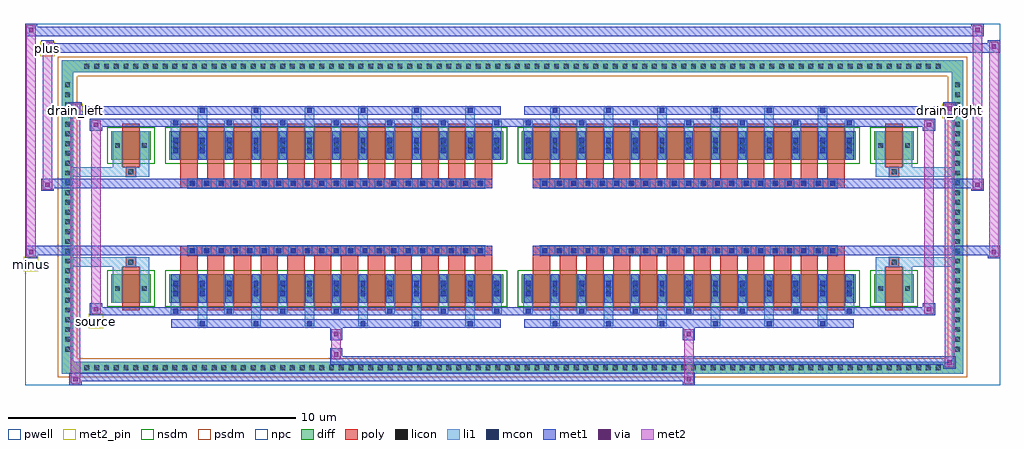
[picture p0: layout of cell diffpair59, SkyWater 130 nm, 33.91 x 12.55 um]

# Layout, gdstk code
import gdstk
lib = gdstk.Library(unit=1e-6, precision=5e-09)
def R(c, l, rs):  # rectangles x0, y0, x1, y1
    for r in rs: c.add(gdstk.rectangle(r[:2], r[2:], *l))
def A(c, l, x, y, w, h, nx, ny, dx, dy):  # array of equal rectangles
    R(c, l, [(x+i*dx, y+j*dy, x+i*dx+w, y+j*dy+h) for i in range(nx) for j in range(ny)])
def P(c, l, *ps):  # polygons
    for p in ps: c.add(gdstk.Polygon(p, *l))
pwell = (64, 44)
diff = (65, 20)
poly = (66, 20)
licon = (66, 44)
li1 = (67, 20)
mcon = (67, 44)
met1 = (68, 20)
via = (68, 44)
met2_pin = (69, 16)
met2 = (69, 20)
nsdm = (93, 44)
psdm = (94, 20)
npc = (95, 20)

diffpair59 = lib.new_cell('diffpair59')
R(diffpair59, pwell, [(-16.94,-5.84,16.94,6.71), (-14.26,-4.03,-0.01,-0.805), (0.01,-4.03,14.26,-0.805), (-14.26,0.805,-0.01,4.03), (0.01,0.805,14.26,4.03)])
A(diffpair59, diff, -14.995, -5.44, 0.41, 0.41, 88, 2, 0.34, 10.47)
A(diffpair59, diff, -15.67, -4.795, 0.41, 0.41, 1, 28, 0, 0.34)
A(diffpair59, diff, 15.26, -4.795, 0.41, 0.41, 1, 28, 0, 0.34)
R(diffpair59, diff, [(-14.995,-5.44,14.995,-5.03), (-15.67,-4.795,-15.26,4.795), (15.26,-4.795,15.67,4.795), (-13.95,-2.985,-12.57,-1.985), (-11.93,-2.985,-0.32,-1.985), (0.32,-2.985,11.93,-1.985), (12.57,-2.985,13.95,-1.985), (-13.95,1.985,-12.57,2.985), (-11.93,1.985,-0.32,2.985), (0.32,1.985,11.93,2.985), (12.57,1.985,13.95,2.985), (-14.995,5.03,14.995,5.44)])
P(diffpair59, diff, [(15.67,5.44),(-15.67,5.44),(-15.67,-5.03),(-15.26,-5.03),(-15.26,5.03),(15.26,5.03),(15.26,-5.03),(-15.26,-5.03),(-15.67,-5.03),(-15.67,-5.44),(15.67,-5.44)])
A(diffpair59, poly, -11.54, -3.235, 0.6, 1.5, 12, 2, 0.93, 4.97)
A(diffpair59, poly, 0.71, -3.235, 0.6, 1.5, 12, 2, 0.93, 4.97)
A(diffpair59, poly, -11.54, -1.735, 0.6, 0.4, 12, 2, 0.93, 3.07)
A(diffpair59, poly, 0.71, -1.735, 0.6, 0.4, 12, 2, 0.93, 3.07)
A(diffpair59, poly, -11.29, -1.335, 0.33, 0.33, 21, 2, 0.5, 2.34)
A(diffpair59, poly, 0.96, -1.335, 0.33, 0.33, 21, 2, 0.5, 2.34)
R(diffpair59, poly, [(-13.56,-3.235,-12.96,-1.735), (12.96,-3.235,13.56,-1.735), (-13.425,-1.735,-13.095,-1.405), (-13.425,-1.735,-13.095,-1.405), (13.095,-1.735,13.425,-1.405), (13.095,-1.735,13.425,-1.405), (-11.54,-1.335,-0.71,-1.005), (0.71,-1.335,11.54,-1.005), (-11.54,1.005,-0.71,1.335), (0.71,1.005,11.54,1.335), (-13.425,1.405,-13.095,1.735), (-13.425,1.405,-13.095,1.735), (13.095,1.405,13.425,1.735), (13.095,1.405,13.425,1.735), (-13.56,1.735,-12.96,3.235), (12.96,1.735,13.56,3.235)])
A(diffpair59, licon, -14.875, -5.32, 0.17, 0.17, 88, 2, 0.34, 10.47)
A(diffpair59, licon, -15.55, -4.675, 0.17, 0.17, 1, 28, 0, 0.34)
A(diffpair59, licon, 15.38, -4.675, 0.17, 0.17, 1, 28, 0, 0.34)
A(diffpair59, licon, -11.79, -2.57, 0.17, 0.17, 13, 2, 0.93, 4.97)
A(diffpair59, licon, 0.46, -2.57, 0.17, 0.17, 13, 2, 0.93, 4.97)
A(diffpair59, licon, -11.21, -1.255, 0.17, 0.17, 21, 2, 0.5, 2.34)
A(diffpair59, licon, 1.04, -1.255, 0.17, 0.17, 21, 2, 0.5, 2.34)
R(diffpair59, licon, [(-13.81,-2.57,-13.64,-2.4), (-12.88,-2.57,-12.71,-2.4), (12.71,-2.57,12.88,-2.4), (13.64,-2.57,13.81,-2.4), (-13.345,-1.655,-13.175,-1.485), (13.175,-1.655,13.345,-1.485), (-13.345,1.485,-13.175,1.655), (13.175,1.485,13.345,1.655), (-13.81,2.4,-13.64,2.57), (-12.88,2.4,-12.71,2.57), (12.71,2.4,12.88,2.57), (13.64,2.4,13.81,2.57)])
A(diffpair59, li1, -14.955, -5.4, 0.33, 0.33, 88, 2, 0.34, 10.47)
A(diffpair59, li1, -15.63, -4.755, 0.33, 0.33, 1, 28, 0, 0.34)
A(diffpair59, li1, 15.3, -4.755, 0.33, 0.33, 1, 28, 0, 0.34)
A(diffpair59, li1, -10.94, -3.79, 0.33, 0.805, 6, 2, 1.86, 6.775)
A(diffpair59, li1, -10.86, -3.79, 0.17, 0.17, 6, 2, 1.86, 7.41)
A(diffpair59, li1, 1.31, -3.79, 0.33, 0.805, 6, 2, 1.86, 6.775)
A(diffpair59, li1, 1.39, -3.79, 0.17, 0.17, 6, 2, 1.86, 7.41)
A(diffpair59, li1, -11.87, -3.36, 0.33, 0.375, 7, 2, 1.86, 6.345)
A(diffpair59, li1, -11.79, -3.36, 0.17, 0.17, 7, 2, 1.86, 6.55)
A(diffpair59, li1, 0.38, -3.36, 0.33, 0.375, 7, 2, 1.86, 6.345)
A(diffpair59, li1, 0.46, -3.36, 0.17, 0.17, 7, 2, 1.86, 6.55)
A(diffpair59, li1, -11.87, -2.985, 0.33, 1, 13, 2, 0.93, 4.97)
A(diffpair59, li1, 0.38, -2.985, 0.33, 1, 13, 2, 0.93, 4.97)
A(diffpair59, li1, -11.79, -2.75, 0.17, 0.17, 13, 2, 0.93, 0.36)
A(diffpair59, li1, -11.79, -2.75, 0.17, 0.53, 13, 2, 0.93, 4.97)
A(diffpair59, li1, 0.46, -2.75, 0.17, 0.17, 13, 2, 0.93, 0.36)
A(diffpair59, li1, 0.46, -2.75, 0.17, 0.53, 13, 2, 0.93, 4.97)
A(diffpair59, li1, -11.87, -2.65, 0.33, 0.33, 13, 2, 0.93, 4.97)
A(diffpair59, li1, 0.38, -2.65, 0.33, 0.33, 13, 2, 0.93, 4.97)
A(diffpair59, li1, -11.29, -1.335, 0.33, 0.33, 21, 2, 0.5, 2.34)
A(diffpair59, li1, 0.96, -1.335, 0.33, 0.33, 21, 2, 0.5, 2.34)
A(diffpair59, li1, -11.79, 2.22, 0.17, 0.17, 13, 2, 0.93, 0.36)
A(diffpair59, li1, 0.46, 2.22, 0.17, 0.17, 13, 2, 0.93, 0.36)
R(diffpair59, li1, [(-15.67,-5.44,-15.26,-5.03), (-15.67,-5.44,-15.26,-5.03), (-15.26,-5.44,15.26,-5.03), (15.26,-5.44,15.67,-5.03), (15.26,-5.44,15.67,-5.03), (-15.67,-5.03,-15.26,5.03), (15.26,-5.03,15.67,5.03), (-13.89,-2.985,-13.56,-1.985), (-12.96,-2.985,-12.63,-1.985), (12.63,-2.985,12.96,-1.985), (13.56,-2.985,13.89,-1.985), (-13.89,-2.65,-13.56,-2.32), (-12.96,-2.65,-12.63,-2.32), (12.63,-2.65,12.96,-2.32), (13.56,-2.65,13.89,-2.32), (-13.89,-1.985,-13.56,-1.405), (-12.96,-1.985,-12.63,-1.405), (12.63,-1.985,12.96,-1.405), (13.56,-1.985,13.89,-1.405), (-15.67,-1.735,-13.425,-1.405), (-13.89,-1.735,-13.425,-1.405), (-13.425,-1.735,-13.095,-1.405), (-13.095,-1.735,-12.63,-1.405), (12.63,-1.735,13.095,-1.405), (13.095,-1.735,13.425,-1.405), (13.095,-1.735,15.67,-1.405), (13.425,-1.735,13.89,-1.405), (-15.67,1.405,-13.425,1.735), (-13.89,1.405,-13.425,1.735), (-13.89,1.405,-13.56,1.985), (-13.425,1.405,-13.095,1.735), (-13.095,1.405,-12.63,1.735), (-12.96,1.405,-12.63,1.985), (12.63,1.405,13.095,1.735), (12.63,1.405,12.96,1.985), (13.095,1.405,13.425,1.735), (13.095,1.405,15.67,1.735), (13.425,1.405,13.89,1.735), (13.56,1.405,13.89,1.985), (-13.89,1.985,-13.56,2.985), (-12.96,1.985,-12.63,2.985), (12.63,1.985,12.96,2.985), (13.56,1.985,13.89,2.985), (-13.89,2.32,-13.56,2.65), (-12.96,2.32,-12.63,2.65), (12.63,2.32,12.96,2.65), (13.56,2.32,13.89,2.65), (-15.67,5.03,-15.26,5.44), (-15.67,5.03,-15.26,5.44), (-15.26,5.03,15.26,5.44), (15.26,5.03,15.67,5.44), (15.26,5.03,15.67,5.44)])
A(diffpair59, mcon, -10.86, -3.79, 0.17, 0.17, 6, 2, 1.86, 7.41)
A(diffpair59, mcon, 1.39, -3.79, 0.17, 0.17, 6, 2, 1.86, 7.41)
A(diffpair59, mcon, -11.79, -3.36, 0.17, 0.17, 7, 2, 1.86, 6.55)
A(diffpair59, mcon, 0.46, -3.36, 0.17, 0.17, 7, 2, 1.86, 6.55)
A(diffpair59, mcon, -11.79, -2.75, 0.17, 0.17, 13, 2, 0.93, 0.36)
A(diffpair59, mcon, 0.46, -2.75, 0.17, 0.17, 13, 2, 0.93, 0.36)
A(diffpair59, mcon, -11.21, -1.255, 0.17, 0.17, 21, 2, 0.5, 2.34)
A(diffpair59, mcon, 1.04, -1.255, 0.17, 0.17, 21, 2, 0.5, 2.34)
A(diffpair59, mcon, -11.79, 2.22, 0.17, 0.17, 13, 2, 0.93, 0.36)
A(diffpair59, mcon, 0.46, 2.22, 0.17, 0.17, 13, 2, 0.93, 0.36)
A(diffpair59, met1, -10.92, -3.85, 0.29, 0.29, 6, 2, 1.86, 7.41)
A(diffpair59, met1, 1.33, -3.85, 0.29, 0.29, 6, 2, 1.86, 7.41)
A(diffpair59, met1, -11.85, -3.42, 0.29, 0.29, 7, 2, 1.86, 6.55)
A(diffpair59, met1, 0.4, -3.42, 0.29, 0.29, 7, 2, 1.86, 6.55)
A(diffpair59, met1, -11.85, -2.985, 0.29, 1, 13, 2, 0.93, 4.97)
A(diffpair59, met1, 0.4, -2.985, 0.29, 1, 13, 2, 0.93, 4.97)
A(diffpair59, met1, -11.85, -2.81, 0.29, 0.29, 13, 2, 0.93, 0.36)
A(diffpair59, met1, 0.4, -2.81, 0.29, 0.29, 13, 2, 0.93, 0.36)
A(diffpair59, met1, -11.27, -1.315, 0.29, 0.29, 21, 2, 0.5, 2.34)
A(diffpair59, met1, 0.98, -1.315, 0.29, 0.29, 21, 2, 0.5, 2.34)
A(diffpair59, met1, -11.85, 2.16, 0.29, 0.29, 13, 2, 0.93, 0.36)
A(diffpair59, met1, 0.4, 2.16, 0.29, 0.29, 13, 2, 0.93, 0.36)
R(diffpair59, met1, [(-15.4,-5.84,-14.97,-5.41), (5.91,-5.84,6.34,-5.41), (-15.4,-5.7,6.34,-5.41), (14.97,-5.27,15.4,-4.84), (-6.34,-5.13,15.4,-4.84), (-6.34,-4.99,-5.91,-4.56), (-6.34,-4.28,-5.91,-3.85), (5.91,-4.28,6.34,-3.85), (-11.85,-3.85,-0.4,-3.56), (0.4,-3.85,11.85,-3.56), (-14.69,-3.42,-14.26,-2.99), (-14.69,-3.42,-11.85,-3.13), (-11.85,-3.42,-0.4,-3.13), (-0.4,-3.42,0.4,-3.13), (0.4,-3.42,11.85,-3.13), (11.85,-3.42,14.69,-3.13), (14.26,-3.42,14.69,-2.99), (-16.94,-1.435,-16.51,-1.005), (16.51,-1.435,16.94,-1.005), (-16.94,-1.335,-0.71,-1.005), (-11.54,-1.335,-0.71,-1.005), (0.71,-1.335,11.54,-1.005), (0.71,-1.335,16.94,-1.005), (-16.37,0.905,-15.94,1.335), (15.94,0.905,16.37,1.335), (-16.37,1.005,-11.54,1.335), (-11.54,1.005,-0.71,1.335), (0.71,1.005,11.54,1.335), (11.54,1.005,16.37,1.335), (-14.69,2.99,-14.26,3.42), (14.26,2.99,14.69,3.42), (-14.69,3.13,-11.85,3.42), (-11.85,3.13,-0.4,3.42), (-0.4,3.13,0.4,3.42), (0.4,3.13,11.85,3.42), (11.85,3.13,14.69,3.42), (-15.4,3.56,-14.97,3.99), (-15.4,3.56,-11.85,3.85), (-11.85,3.56,-0.4,3.85), (0.4,3.56,11.85,3.85), (11.85,3.56,15.4,3.85), (14.97,3.56,15.4,3.99), (-16.37,5.71,-15.94,6.14), (-16.37,5.71,-14.26,6.04), (-14.26,5.71,14.26,6.04), (14.26,5.71,16.94,6.04), (16.51,5.71,16.94,6.14), (-16.94,6.28,-16.51,6.71), (-16.94,6.28,-14.26,6.61), (-14.26,6.28,14.26,6.61), (14.26,6.28,16.37,6.61), (15.94,6.28,16.37,6.71)])
R(diffpair59, via, [(-15.26,-5.7,-15.11,-5.55), (6.05,-5.7,6.2,-5.55), (15.11,-5.13,15.26,-4.98), (-6.2,-4.85,-6.05,-4.7), (-6.2,-4.14,-6.05,-3.99), (6.05,-4.14,6.2,-3.99), (-14.55,-3.28,-14.4,-3.13), (14.4,-3.28,14.55,-3.13), (-16.8,-1.295,-16.65,-1.145), (16.65,-1.295,16.8,-1.145), (-16.23,1.045,-16.08,1.195), (16.08,1.045,16.23,1.195), (-14.55,3.13,-14.4,3.28), (14.4,3.13,14.55,3.28), (-15.26,3.7,-15.11,3.85), (15.11,3.7,15.26,3.85), (-16.23,5.85,-16.08,6), (16.65,5.85,16.8,6), (-16.8,6.42,-16.65,6.57), (16.08,6.42,16.23,6.57)])
R(diffpair59, met2_pin, [(-14.725,-3.87,-14.225,-3.37), (-16.975,-1.885,-16.475,-1.385), (-15.435,3.44,-14.935,3.94), (14.935,3.44,15.435,3.94), (-16.405,5.59,-15.905,6.09)])
R(diffpair59, met2, [(-15.35,-5.79,-15.02,-5.46), (-15.35,-5.79,-15.02,3.94), (5.96,-5.79,6.29,-5.46), (5.96,-5.46,6.29,-4.23), (15.02,-5.22,15.35,-4.89), (15.02,-5.22,15.35,3.94), (-6.29,-4.94,-5.96,-4.61), (-6.29,-4.61,-5.96,-4.23), (-6.29,-4.23,-5.96,-3.9), (5.96,-4.23,6.29,-3.9), (-14.64,-3.37,-14.31,-3.04), (-14.64,-3.37,-14.31,3.37), (14.31,-3.37,14.64,-3.04), (14.31,-3.37,14.64,3.37), (-16.89,-1.385,-16.56,-1.055), (-16.89,-1.385,-16.56,6.66), (16.56,-1.385,16.89,-1.055), (16.56,-1.385,16.89,6.09), (-16.32,0.955,-15.99,1.285), (-16.32,0.955,-15.99,6.09), (15.99,0.955,16.32,1.285), (15.99,0.955,16.32,6.66), (-14.64,3.04,-14.31,3.37), (14.31,3.04,14.64,3.37), (-15.35,3.61,-15.02,3.94), (15.02,3.61,15.35,3.94), (-16.32,5.76,-15.99,6.09), (16.56,5.76,16.89,6.09), (-16.89,6.33,-16.56,6.66), (15.99,6.33,16.32,6.66)])
P(diffpair59, met2, [(16.89,-1.385),(16.89,-1.385),(16.89,-1.055),(16.89,-1.055)],
  [(16.89,5.76),(16.89,5.76),(16.89,6.09),(16.89,6.09)],
  [(-16.56,-1.385),(-16.56,-1.385),(-16.56,-1.055),(-16.56,-1.055)],
  [(-16.56,6.33),(-16.56,6.33),(-16.56,6.66),(-16.56,6.66)],
  [(16.32,0.955),(16.32,0.955),(16.32,1.285),(16.32,1.285)],
  [(16.32,6.33),(16.32,6.33),(16.32,6.66),(16.32,6.66)],
  [(-15.99,0.955),(-15.99,0.955),(-15.99,1.285),(-15.99,1.285)],
  [(-15.99,5.76),(-15.99,5.76),(-15.99,6.09),(-15.99,6.09)],
  [(-15.02,-5.79),(-15.02,-5.79),(-15.02,-5.46),(-15.02,-5.46)],
  [(-15.02,3.61),(-15.02,3.61),(-15.02,3.94),(-15.02,3.94)],
  [(15.35,-5.22),(15.35,-5.22),(15.35,-4.89),(15.35,-4.89)],
  [(15.35,3.61),(15.35,3.61),(15.35,3.94),(15.35,3.94)],
  [(-14.31,-3.37),(-14.31,-3.37),(-14.31,-3.04),(-14.31,-3.04)],
  [(-14.31,3.04),(-14.31,3.04),(-14.31,3.37),(-14.31,3.37)],
  [(14.64,-3.37),(14.64,-3.37),(14.64,-3.04),(14.64,-3.04)],
  [(14.64,3.04),(14.64,3.04),(14.64,3.37),(14.64,3.37)])
R(diffpair59, nsdm, [(-14.08,-3.115,-12.44,-1.855), (-12.06,-3.115,-0.19,-1.855), (0.19,-3.115,12.06,-1.855), (12.44,-3.115,14.08,-1.855), (-14.08,1.855,-12.44,3.115), (-12.06,1.855,-0.19,3.115), (0.19,1.855,12.06,3.115), (12.44,1.855,14.08,3.115)])
P(diffpair59, psdm, [(15.8,5.57),(-15.8,5.57),(-15.8,-4.9),(-15.13,-4.9),(-15.13,4.9),(15.13,4.9),(15.13,-4.9),(-15.13,-4.9),(-15.8,-4.9),(-15.8,-5.57),(15.8,-5.57)])
A(diffpair59, npc, -11.31, -1.355, 0.37, 0.37, 21, 2, 0.5, 2.34)
A(diffpair59, npc, 0.94, -1.355, 0.37, 0.37, 21, 2, 0.5, 2.34)
R(diffpair59, npc, [(-13.445,-1.755,-13.075,-1.385), (13.075,-1.755,13.445,-1.385), (-11.31,-1.355,-10.44,-0.985), (-11.31,-1.355,-10.44,-0.985), (-10.81,-1.355,-9.94,-0.985), (-10.81,-1.355,-9.94,-0.985), (-10.31,-1.355,-9.44,-0.985), (-10.31,-1.355,-9.44,-0.985), (-9.81,-1.355,-8.94,-0.985), (-9.81,-1.355,-8.94,-0.985), (-9.31,-1.355,-8.44,-0.985), (-9.31,-1.355,-8.44,-0.985), (-8.81,-1.355,-7.94,-0.985), (-8.81,-1.355,-7.94,-0.985), (-8.31,-1.355,-7.44,-0.985), (-8.31,-1.355,-7.44,-0.985), (-7.81,-1.355,-6.94,-0.985), (-7.81,-1.355,-6.94,-0.985), (-7.31,-1.355,-6.44,-0.985), (-7.31,-1.355,-6.44,-0.985), (-6.81,-1.355,-5.94,-0.985), (-6.81,-1.355,-5.94,-0.985), (-6.31,-1.355,-5.44,-0.985), (-6.31,-1.355,-5.44,-0.985), (-5.81,-1.355,-4.94,-0.985), (-5.81,-1.355,-4.94,-0.985), (-5.31,-1.355,-4.44,-0.985), (-5.31,-1.355,-4.44,-0.985), (-4.81,-1.355,-3.94,-0.985), (-4.81,-1.355,-3.94,-0.985), (-4.31,-1.355,-3.44,-0.985), (-4.31,-1.355,-3.44,-0.985), (-3.81,-1.355,-2.94,-0.985), (-3.81,-1.355,-2.94,-0.985), (-3.31,-1.355,-2.44,-0.985), (-3.31,-1.355,-2.44,-0.985), (-2.81,-1.355,-1.94,-0.985), (-2.81,-1.355,-1.94,-0.985), (-2.31,-1.355,-1.44,-0.985), (-2.31,-1.355,-1.44,-0.985), (-1.81,-1.355,-0.94,-0.985), (-1.81,-1.355,-0.94,-0.985), (0.94,-1.355,1.81,-0.985), (0.94,-1.355,1.81,-0.985), (1.44,-1.355,2.31,-0.985), (1.44,-1.355,2.31,-0.985), (1.94,-1.355,2.81,-0.985), (1.94,-1.355,2.81,-0.985), (2.44,-1.355,3.31,-0.985), (2.44,-1.355,3.31,-0.985), (2.94,-1.355,3.81,-0.985), (2.94,-1.355,3.81,-0.985), (3.44,-1.355,4.31,-0.985), (3.44,-1.355,4.31,-0.985), (3.94,-1.355,4.81,-0.985), (3.94,-1.355,4.81,-0.985), (4.44,-1.355,5.31,-0.985), (4.44,-1.355,5.31,-0.985), (4.94,-1.355,5.81,-0.985), (4.94,-1.355,5.81,-0.985), (5.44,-1.355,6.31,-0.985), (5.44,-1.355,6.31,-0.985), (5.94,-1.355,6.81,-0.985), (5.94,-1.355,6.81,-0.985), (6.44,-1.355,7.31,-0.985), (6.44,-1.355,7.31,-0.985), (6.94,-1.355,7.81,-0.985), (6.94,-1.355,7.81,-0.985), (7.44,-1.355,8.31,-0.985), (7.44,-1.355,8.31,-0.985), (7.94,-1.355,8.81,-0.985), (7.94,-1.355,8.81,-0.985), (8.44,-1.355,9.31,-0.985), (8.44,-1.355,9.31,-0.985), (8.94,-1.355,9.81,-0.985), (8.94,-1.355,9.81,-0.985), (9.44,-1.355,10.31,-0.985), (9.44,-1.355,10.31,-0.985), (9.94,-1.355,10.81,-0.985), (9.94,-1.355,10.81,-0.985), (10.44,-1.355,11.31,-0.985), (10.44,-1.355,11.31,-0.985), (-11.31,0.985,-10.44,1.355), (-11.31,0.985,-10.44,1.355), (-10.81,0.985,-9.94,1.355), (-10.81,0.985,-9.94,1.355), (-10.31,0.985,-9.44,1.355), (-10.31,0.985,-9.44,1.355), (-9.81,0.985,-8.94,1.355), (-9.81,0.985,-8.94,1.355), (-9.31,0.985,-8.44,1.355), (-9.31,0.985,-8.44,1.355), (-8.81,0.985,-7.94,1.355), (-8.81,0.985,-7.94,1.355), (-8.31,0.985,-7.44,1.355), (-8.31,0.985,-7.44,1.355), (-7.81,0.985,-6.94,1.355), (-7.81,0.985,-6.94,1.355), (-7.31,0.985,-6.44,1.355), (-7.31,0.985,-6.44,1.355), (-6.81,0.985,-5.94,1.355), (-6.81,0.985,-5.94,1.355), (-6.31,0.985,-5.44,1.355), (-6.31,0.985,-5.44,1.355), (-5.81,0.985,-4.94,1.355), (-5.81,0.985,-4.94,1.355), (-5.31,0.985,-4.44,1.355), (-5.31,0.985,-4.44,1.355), (-4.81,0.985,-3.94,1.355), (-4.81,0.985,-3.94,1.355), (-4.31,0.985,-3.44,1.355), (-4.31,0.985,-3.44,1.355), (-3.81,0.985,-2.94,1.355), (-3.81,0.985,-2.94,1.355), (-3.31,0.985,-2.44,1.355), (-3.31,0.985,-2.44,1.355), (-2.81,0.985,-1.94,1.355), (-2.81,0.985,-1.94,1.355), (-2.31,0.985,-1.44,1.355), (-2.31,0.985,-1.44,1.355), (-1.81,0.985,-0.94,1.355), (-1.81,0.985,-0.94,1.355), (0.94,0.985,1.81,1.355), (0.94,0.985,1.81,1.355), (1.44,0.985,2.31,1.355), (1.44,0.985,2.31,1.355), (1.94,0.985,2.81,1.355), (1.94,0.985,2.81,1.355), (2.44,0.985,3.31,1.355), (2.44,0.985,3.31,1.355), (2.94,0.985,3.81,1.355), (2.94,0.985,3.81,1.355), (3.44,0.985,4.31,1.355), (3.44,0.985,4.31,1.355), (3.94,0.985,4.81,1.355), (3.94,0.985,4.81,1.355), (4.44,0.985,5.31,1.355), (4.44,0.985,5.31,1.355), (4.94,0.985,5.81,1.355), (4.94,0.985,5.81,1.355), (5.44,0.985,6.31,1.355), (5.44,0.985,6.31,1.355), (5.94,0.985,6.81,1.355), (5.94,0.985,6.81,1.355), (6.44,0.985,7.31,1.355), (6.44,0.985,7.31,1.355), (6.94,0.985,7.81,1.355), (6.94,0.985,7.81,1.355), (7.44,0.985,8.31,1.355), (7.44,0.985,8.31,1.355), (7.94,0.985,8.81,1.355), (7.94,0.985,8.81,1.355), (8.44,0.985,9.31,1.355), (8.44,0.985,9.31,1.355), (8.94,0.985,9.81,1.355), (8.94,0.985,9.81,1.355), (9.44,0.985,10.31,1.355), (9.44,0.985,10.31,1.355), (9.94,0.985,10.81,1.355), (9.94,0.985,10.81,1.355), (10.44,0.985,11.31,1.355), (10.44,0.985,11.31,1.355), (-13.445,1.385,-13.075,1.755), (13.075,1.385,13.445,1.755)])
diffpair59.add(gdstk.Label('minus', (-16.725,-1.635), layer=69, texttype=5))
diffpair59.add(gdstk.Label('drain_right', (15.185,3.69), layer=69, texttype=5))
diffpair59.add(gdstk.Label('drain_left', (-15.185,3.69), layer=69, texttype=5))
diffpair59.add(gdstk.Label('source', (-14.475,-3.62), layer=69, texttype=5))
diffpair59.add(gdstk.Label('plus', (-16.155,5.84), layer=69, texttype=5))

lib.write_gds('diffpair59.gds')
